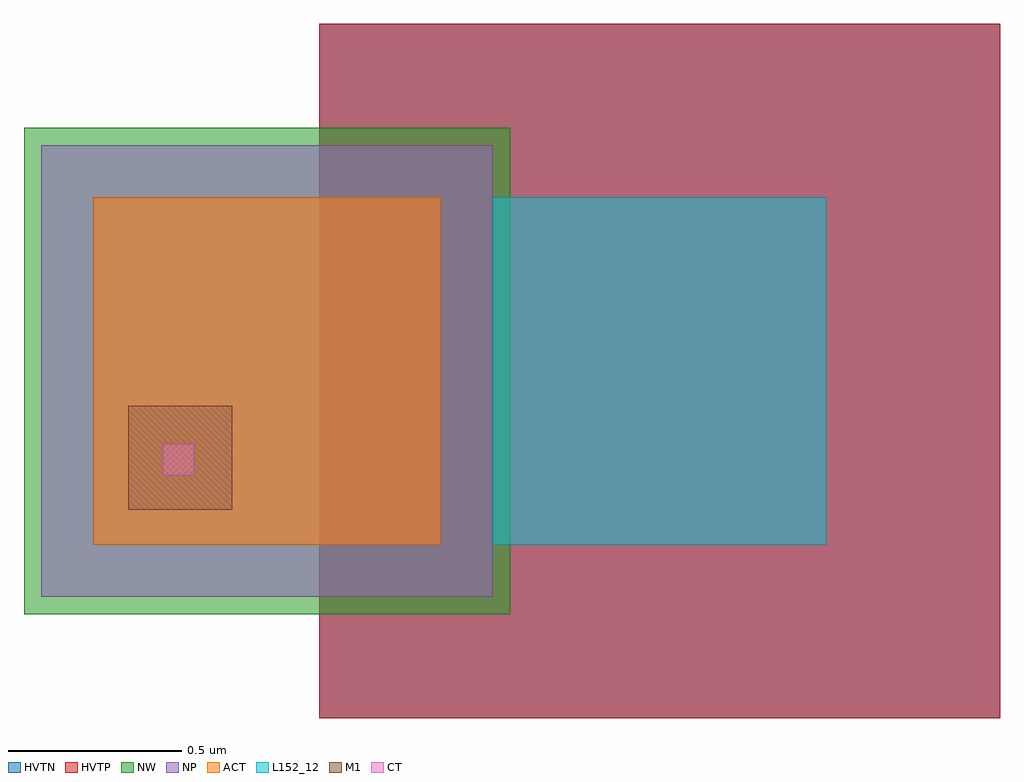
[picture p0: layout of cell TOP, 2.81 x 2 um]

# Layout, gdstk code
import gdstk
lib = gdstk.Library(unit=1e-6, precision=1e-09)
def R(c, l, rs):  # rectangles x0, y0, x1, y1
    for r in rs: c.add(gdstk.rectangle(r[:2], r[2:], *l))
ACT = (2, 1)
NW = (9, 1)
HVTN = (21, 1)
HVTP = (22, 1)
NP = (52, 1)
CT = (72, 1)
M1 = (81, 1)
L152_12 = (152, 12)

top = lib.new_cell('TOP')
R(top, ACT, [(0,0,1,1)])
R(top, NW, [(-0.2,-0.2,1.2,1.2)])
R(top, HVTN, [(0.65,-0.5,2.61,1.5)])
R(top, HVTP, [(0.65,-0.5,2.61,1.5)])
R(top, NP, [(-0.15,-0.15,1.15,1.15)])
R(top, CT, [(0.2,0.2,0.29,0.29)])
R(top, M1, [(0.1,0.1,0.4,0.4)])
R(top, L152_12, [(1.15,0,2.11,1)])

lib.write_gds('TOP.gds')
